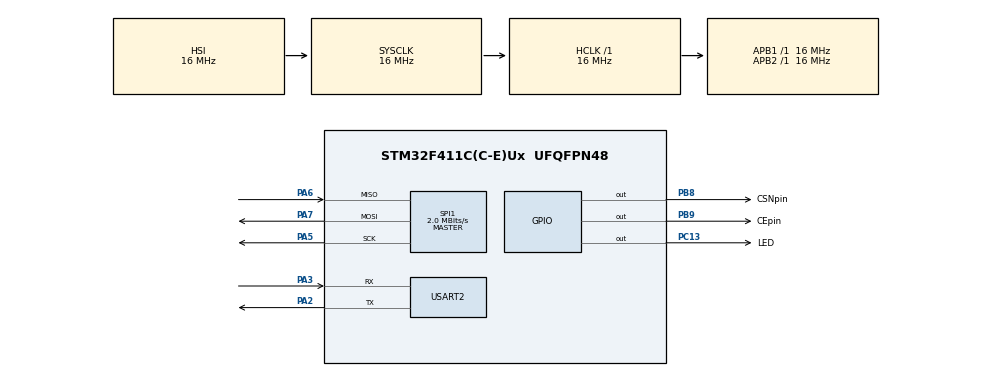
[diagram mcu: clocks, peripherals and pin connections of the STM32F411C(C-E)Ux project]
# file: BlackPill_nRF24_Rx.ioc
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Mcu.Family=STM32F4
Mcu.Name=STM32F411C(C-E)Ux
Mcu.Package=UFQFPN48
NVIC.PriorityGroup=NVIC_PRIORITYGROUP_4
PA2.Mode=Asynchronous
PA2.Signal=USART2_TX
PA3.Mode=Asynchronous
PA3.Signal=USART2_RX
PA5.Mode=Full_Duplex_Master
PA5.Signal=SPI1_SCK
PA6.Mode=Full_Duplex_Master
PA6.Signal=SPI1_MISO
PA7.Mode=Full_Duplex_Master
PA7.Signal=SPI1_MOSI
PB8.GPIO_Label=CSNpin
PB8.Signal=GPIO_Output
PB9.GPIO_Label=CEpin
PB9.Signal=GPIO_Output
PC13-ANTI_TAMP.GPIO_Label=LED
PC13-ANTI_TAMP.Signal=GPIO_Output
ProjectManager.HeapSize=0x200
ProjectManager.StackSize=0x400
ProjectManager.TargetToolchain=STM32CubeIDE
RCC.AHBFreq_Value=16000000
RCC.APB1Freq_Value=16000000
RCC.APB2Freq_Value=16000000
RCC.CortexFreq_Value=16000000
RCC.HSE_VALUE=25000000
RCC.HSI_VALUE=16000000
RCC.LSE_VALUE=32768
RCC.SYSCLKFreq_VALUE=16000000
RCC.VCOOutputFreq_Value=192000000
SPI1.BaudRatePrescaler=SPI_BAUDRATEPRESCALER_8
SPI1.CalculateBaudRate=2.0 MBits/s
SPI1.Direction=SPI_DIRECTION_2LINES
SPI1.Mode=SPI_MODE_MASTER
SPI1.VirtualType=VM_MASTER
USART2.VirtualMode=VM_ASYNC
board=custom

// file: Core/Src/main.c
/* USER CODE BEGIN Header */
/**
  ******************************************************************************
  * @file           : main.c
  * @brief          : Main program body
  ******************************************************************************
  * @attention
  *
  * Copyright (c) 2022 STMicroelectronics.
  * All rights reserved.
  *
  * This software is licensed under terms that can be found in the LICENSE file
  * in the root directory of this software component.
  * If no LICENSE file comes with this software, it is provided AS-IS.
  *
  ******************************************************************************
  */
/* USER CODE END Header */
#include "main.h"

/* USER CODE BEGIN Includes */
#include <stdio.h>
#include "NRF24.h"
/* USER CODE END Includes */

SPI_HandleTypeDef hspi1;

UART_HandleTypeDef huart2;

void SystemClock_Config(void);
static void MX_GPIO_Init(void);
static void MX_SPI1_Init(void);
static void MX_USART2_UART_Init(void);

/* USER CODE BEGIN 0 */

int __io_putchar(int ch)
{
  if (ch == '\n') {
    __io_putchar('\r');
  }
  HAL_UART_Transmit(&huart2, (uint8_t*)&ch, 1, HAL_MAX_DELAY);
  return 1;
}

typedef struct {
	uint32_t revId;
	uint32_t devId;
	char payload[16];
} ExchangeData_t;

uint64_t rxPipeAddress = 0x2109BC1971;

#define DS18B20_ROM_CODE_SIZE		8
#define DS18B20_INVALID_TEMP       0x0550

typedef struct {
	int16_t temp;
	uint8_t address[DS18B20_ROM_CODE_SIZE];
} DS18B20Data_t;

/* USER CODE END 0 */

int main(void)
{

  /* MCU Configuration--------------------------------------------------------*/

  /* Reset of all peripherals, Initializes the Flash interface and the Systick. */
  HAL_Init();

  /* Configure the system clock */
  SystemClock_Config();

  /* Initialize all configured peripherals */
  MX_GPIO_Init();
  MX_SPI1_Init();
  MX_USART2_UART_Init();

  /* USER CODE BEGIN 2 */
  NRF24_begin(CSNpin_GPIO_Port, CSNpin_Pin, CEpin_Pin, hspi1);
  nrf24_DebugUART_Init(huart2);

  // receive with ACK
  NRF24_setAutoAck(true);
  NRF24_setChannel(52);
  NRF24_setPayloadSize(sizeof(DS18B20Data_t));
  NRF24_openReadingPipe(1,  rxPipeAddress);
  printRadioSettings();
  NRF24_startListening();

  for (int i = 0; i < 3; ++ i) {
      HAL_GPIO_WritePin(LED_GPIO_Port, LED_Pin, GPIO_PIN_RESET);
      HAL_Delay(10);
      HAL_GPIO_WritePin(LED_GPIO_Port, LED_Pin, GPIO_PIN_SET);
      HAL_Delay(100);
  }
  printf("Rx ready\n");

  /* USER CODE END 2 */

  /* Infinite loop */
  /* USER CODE BEGIN WHILE */
  DS18B20Data_t tempData;
  while (1)
  {
	if (NRF24_available()) {
		HAL_GPIO_WritePin(LED_GPIO_Port, LED_Pin, GPIO_PIN_RESET);
		HAL_Delay(1);
		HAL_GPIO_WritePin(LED_GPIO_Port, LED_Pin, GPIO_PIN_SET);

		memset(&tempData.address[0], 0, sizeof(tempData.address));
		tempData.temp = DS18B20_INVALID_TEMP;
		NRF24_read(&tempData, sizeof(tempData));

		for (int idx = 0; idx < DS18B20_ROM_CODE_SIZE; idx++) {
			printf("%02hX:", tempData.address[idx]);
		}
		printf("  %.1f*C\n", (tempData.temp / 16.0f));
	}
    /* USER CODE END WHILE */
  }
}

void SystemClock_Config(void)
{
  RCC_OscInitTypeDef RCC_OscInitStruct = {0};
  RCC_ClkInitTypeDef RCC_ClkInitStruct = {0};

  /** Configure the main internal regulator output voltage
  */
  __HAL_RCC_PWR_CLK_ENABLE();
  __HAL_PWR_VOLTAGESCALING_CONFIG(PWR_REGULATOR_VOLTAGE_SCALE1);
  /** Initializes the RCC Oscillators according to the specified parameters
  * in the RCC_OscInitTypeDef structure.
  */
  RCC_OscInitStruct.OscillatorType = RCC_OSCILLATORTYPE_HSI;
  RCC_OscInitStruct.HSIState = RCC_HSI_ON;
  RCC_OscInitStruct.HSICalibrationValue = RCC_HSICALIBRATION_DEFAULT;
  RCC_OscInitStruct.PLL.PLLState = RCC_PLL_NONE;
  if (HAL_RCC_OscConfig(&RCC_OscInitStruct) != HAL_OK)
  {
    Error_Handler();
  }
  /** Initializes the CPU, AHB and APB buses clocks
  */
  RCC_ClkInitStruct.ClockType = RCC_CLOCKTYPE_HCLK|RCC_CLOCKTYPE_SYSCLK
                              |RCC_CLOCKTYPE_PCLK1|RCC_CLOCKTYPE_PCLK2;
  RCC_ClkInitStruct.SYSCLKSource = RCC_SYSCLKSOURCE_HSI;
  RCC_ClkInitStruct.AHBCLKDivider = RCC_SYSCLK_DIV1;
  RCC_ClkInitStruct.APB1CLKDivider = RCC_HCLK_DIV1;
  RCC_ClkInitStruct.APB2CLKDivider = RCC_HCLK_DIV1;

  if (HAL_RCC_ClockConfig(&RCC_ClkInitStruct, FLASH_LATENCY_0) != HAL_OK)
  {
    Error_Handler();
  }
}

static void MX_SPI1_Init(void)
{

  /* SPI1 parameter configuration*/
  hspi1.Instance = SPI1;
  hspi1.Init.Mode = SPI_MODE_MASTER;
  hspi1.Init.Direction = SPI_DIRECTION_2LINES;
  hspi1.Init.DataSize = SPI_DATASIZE_8BIT;
  hspi1.Init.CLKPolarity = SPI_POLARITY_LOW;
  hspi1.Init.CLKPhase = SPI_PHASE_1EDGE;
  hspi1.Init.NSS = SPI_NSS_SOFT;
  hspi1.Init.BaudRatePrescaler = SPI_BAUDRATEPRESCALER_8;
  hspi1.Init.FirstBit = SPI_FIRSTBIT_MSB;
  hspi1.Init.TIMode = SPI_TIMODE_DISABLE;
  hspi1.Init.CRCCalculation = SPI_CRCCALCULATION_DISABLE;
  hspi1.Init.CRCPolynomial = 10;
  if (HAL_SPI_Init(&hspi1) != HAL_OK)
  {
    Error_Handler();
  }

}

static void MX_USART2_UART_Init(void)
{

  huart2.Instance = USART2;
  huart2.Init.BaudRate = 115200;
  huart2.Init.WordLength = UART_WORDLENGTH_8B;
  huart2.Init.StopBits = UART_STOPBITS_1;
  huart2.Init.Parity = UART_PARITY_NONE;
  huart2.Init.Mode = UART_MODE_TX_RX;
  huart2.Init.HwFlowCtl = UART_HWCONTROL_NONE;
  huart2.Init.OverSampling = UART_OVERSAMPLING_16;
  if (HAL_UART_Init(&huart2) != HAL_OK)
  {
    Error_Handler();
  }

}

static void MX_GPIO_Init(void)
{
  GPIO_InitTypeDef GPIO_InitStruct = {0};

  /* GPIO Ports Clock Enable */
  __HAL_RCC_GPIOC_CLK_ENABLE();
  __HAL_RCC_GPIOA_CLK_ENABLE();
  __HAL_RCC_GPIOB_CLK_ENABLE();

  /*Configure GPIO pin Output Level */
  HAL_GPIO_WritePin(LED_GPIO_Port, LED_Pin, GPIO_PIN_RESET);

  /*Configure GPIO pin Output Level */
  HAL_GPIO_WritePin(GPIOB, CSNpin_Pin|CEpin_Pin, GPIO_PIN_RESET);

  /*Configure GPIO pin : LED_Pin */
  GPIO_InitStruct.Pin = LED_Pin;
  GPIO_InitStruct.Mode = GPIO_MODE_OUTPUT_PP;
  GPIO_InitStruct.Pull = GPIO_NOPULL;
  GPIO_InitStruct.Speed = GPIO_SPEED_FREQ_LOW;
  HAL_GPIO_Init(LED_GPIO_Port, &GPIO_InitStruct);

  /*Configure GPIO pins : CSNpin_Pin CEpin_Pin */
  GPIO_InitStruct.Pin = CSNpin_Pin|CEpin_Pin;
  GPIO_InitStruct.Mode = GPIO_MODE_OUTPUT_PP;
  GPIO_InitStruct.Pull = GPIO_NOPULL;
  GPIO_InitStruct.Speed = GPIO_SPEED_FREQ_LOW;
  HAL_GPIO_Init(GPIOB, &GPIO_InitStruct);

}

void Error_Handler(void)
{
  __disable_irq();
  while (1)
  {
  }
}
